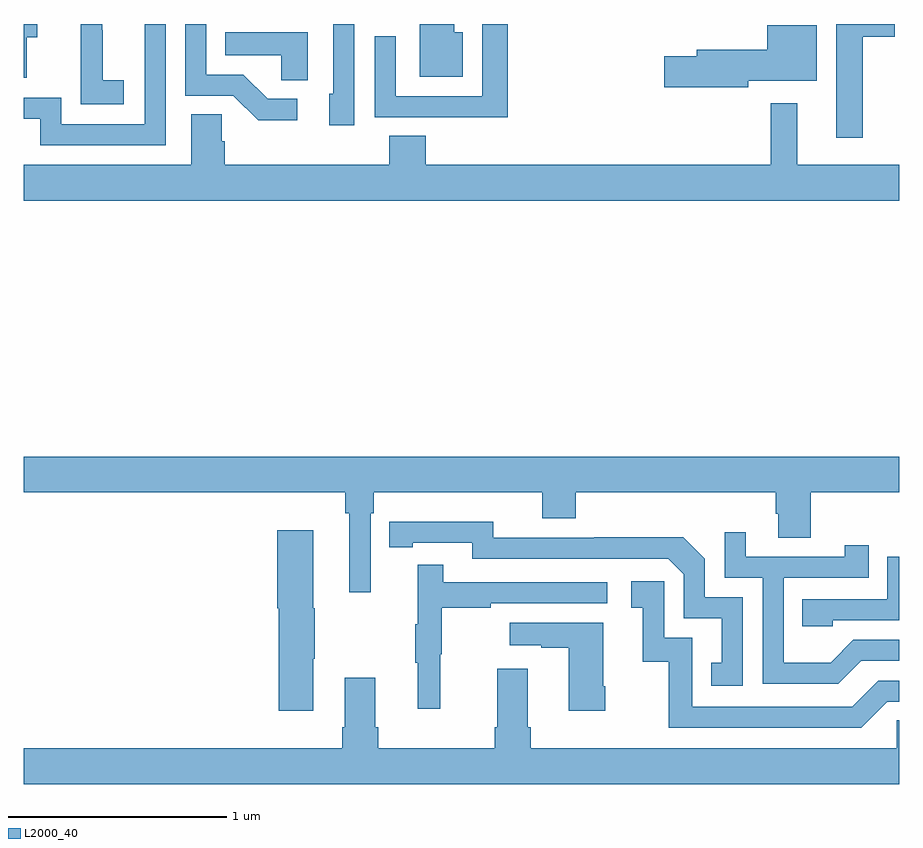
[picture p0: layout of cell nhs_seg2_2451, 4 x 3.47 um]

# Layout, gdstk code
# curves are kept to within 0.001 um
import gdstk
lib = gdstk.Library(unit=1e-6, precision=1e-09)
def P(c, l, *ps):  # polygons
    for p in ps: c.add(gdstk.Polygon(p, *l))
L2000_40 = (2000, 40)

nhs_seg2_2451 = lib.new_cell('nhs_seg2_2451')
P(nhs_seg2_2451, L2000_40, [(241.211,625.8),(241.095,625.8),(241.095,625.47),(240.699,625.47),(240.699,625.744),(240.603,625.744),(240.603,625.374),(240.919,625.374),(240.919,625.373),(241.211,625.373)],
  [(240.25,625.458),(240.115,625.458),(240.004,625.569),(239.835,625.569),(239.835,625.8),(239.739,625.8),(239.739,625.473),(239.958,625.473),(240.071,625.361),(240.25,625.361)],
  [(239.013,625.739),(239.062,625.739),(239.062,625.8),(239,625.8),(239,625.554),(239.013,625.554)],
  [(239.458,625.543),(239.36,625.543),(239.36,625.772),(239.358,625.772),(239.358,625.8),(239.261,625.8),(239.261,625.639),(239.26,625.639),(239.26,625.433),(239.458,625.433)],
  [(240.51,625.8),(240.414,625.8),(240.414,625.482),(240.395,625.482),(240.395,625.338),(240.51,625.338)],
  [(239.649,625.8),(239.553,625.8),(239.553,625.341),(239.172,625.341),(239.172,625.464),(239,625.464),(239,625.368),(239.075,625.368),(239.075,625.245),(239.649,625.245)],
  [(241.006,625.762),(240.967,625.762),(240.967,625.8),(240.809,625.8),(240.809,625.559),(241.006,625.559)],
  [(242.833,625.742),(242.98,625.742),(242.98,625.8),(242.711,625.8),(242.711,625.281),(242.833,625.281)],
  [(242.31,625.541),(242.623,625.541),(242.623,625.795),(242.396,625.795),(242.396,625.682),(242.075,625.682),(242.075,625.652),(241.926,625.652),(241.926,625.51),(242.31,625.51)],
  [(240.298,625.762),(239.92,625.762),(239.92,625.658),(240.177,625.658),(240.177,625.543),(240.298,625.543)],
  [(243,625.156),(242.533,625.156),(242.533,625.438),(242.412,625.438),(242.412,625.156),(240.836,625.156),(240.836,625.289),(240.671,625.289),(240.671,625.156),(239.918,625.156),(239.918,625.265),(239.904,625.265),(239.904,625.388),(239.765,625.388),(239.765,625.156),(239,625.156),(239,624.992),(243,624.992)],
  [(240.585,623.564),(240.599,623.564),(240.599,623.66),(241.37,623.66),(241.37,623.543),(241.523,623.543),(241.523,623.66),(242.435,623.66),(242.435,623.562),(242.447,623.562),(242.447,623.452),(242.595,623.452),(242.595,623.66),(243,623.66),(243,623.824),(239,623.824),(239,623.66),(240.469,623.66),(240.469,623.564),(240.488,623.564),(240.488,623.205),(240.585,623.205)],
  [(242.286,623.181),(242.112,623.181),(242.112,623.358),(242.014,623.456),(241.606,623.456),(241.606,623.454),(241.146,623.454),(241.146,623.527),(240.67,623.526),(240.67,623.41),(240.778,623.41),(240.778,623.43),(241.05,623.43),(241.05,623.358),(241.944,623.358),(242.016,623.286),(242.016,623.085),(242.189,623.085),(242.189,622.881),(242.14,622.881),(242.14,622.776),(242.286,622.776)],
  [(240.322,622.9),(240.33,622.9),(240.33,623.13),(240.322,623.13),(240.322,623.488),(240.158,623.488),(240.158,623.13),(240.164,623.13),(240.164,622.662),(240.322,622.662)],
  [(242.827,622.89),(243,622.89),(243,622.986),(242.79,622.986),(242.686,622.882),(242.472,622.882),(242.472,623.271),(242.861,623.271),(242.861,623.419),(242.75,623.419),(242.75,623.367),(242.299,623.367),(242.299,623.479),(242.202,623.479),(242.202,623.271),(242.376,623.271),(242.376,622.785),(242.722,622.785)],
  [(242.697,623.076),(243,623.076),(243,623.367),(242.946,623.367),(242.946,623.172),(242.557,623.172),(242.557,623.049),(242.697,623.049)],
  [(240.902,622.92),(240.91,622.92),(240.91,623.134),(241.133,623.134),(241.133,623.154),(241.666,623.154),(241.666,623.25),(240.917,623.25),(240.917,623.329),(240.8,623.329),(240.8,623.057),(240.789,623.057),(240.789,622.883),(240.8,622.883),(240.8,622.671),(240.902,622.671)],
  [(242.946,622.704),(243,622.704),(243,622.8),(242.904,622.8),(242.784,622.68),(242.055,622.68),(242.055,622.995),(241.926,622.995),(241.926,623.254),(241.776,623.254),(241.776,623.133),(241.829,623.133),(241.829,622.887),(241.947,622.887),(241.947,622.584),(242.826,622.584)],
  [(241.656,622.774),(241.648,622.774),(241.648,623.065),(241.221,623.065),(241.221,622.961),(241.364,622.961),(241.364,622.951),(241.49,622.951),(241.49,622.662),(241.656,622.662)],
  [(243,622.619),(242.988,622.619),(242.988,622.492),(241.316,622.492),(241.316,622.588),(241.303,622.588),(241.303,622.855),(241.163,622.855),(241.163,622.588),(241.151,622.588),(241.151,622.492),(240.62,622.492),(240.62,622.588),(240.607,622.588),(240.607,622.813),(240.467,622.813),(240.467,622.588),(240.455,622.588),(240.455,622.492),(239,622.492),(239,622.328),(243,622.328)])

lib.write_gds('nhs_seg2_2451.gds')
